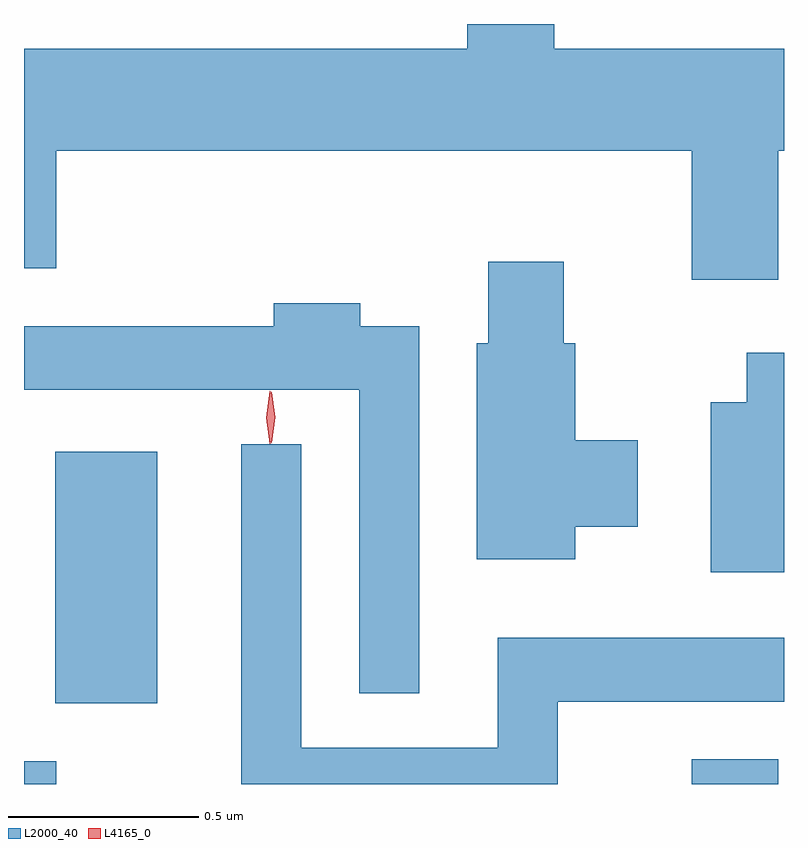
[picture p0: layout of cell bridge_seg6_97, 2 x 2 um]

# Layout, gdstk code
import gdstk
lib = gdstk.Library(unit=1e-6, precision=1e-09)
def R(c, l, rs):  # rectangles x0, y0, x1, y1
    for r in rs: c.add(gdstk.rectangle(r[:2], r[2:], *l))
def P(c, l, *ps):  # polygons
    for p in ps: c.add(gdstk.Polygon(p, *l))
L2000_40 = (2000, 40)
L4165_0 = (4165, 0)

bridge_seg6_97 = lib.new_cell('bridge_seg6_97')
R(bridge_seg6_97, L2000_40, [(1082.464,1612.749,1082.549,1612.809), (1084.221,1612.749,1084.449,1612.814), (1082.546,1612.961,1082.814,1613.624)])
P(bridge_seg6_97, L2000_40, [(1084.449,1614.416),(1084.464,1614.416),(1084.464,1614.684),(1083.859,1614.684),(1083.859,1614.749),(1083.631,1614.749),(1083.631,1614.684),(1082.464,1614.684),(1082.464,1614.106),(1082.549,1614.106),(1082.549,1614.416),(1084.221,1614.416),(1084.221,1614.076),(1084.449,1614.076)],
  [(1083.914,1613.426),(1084.079,1613.426),(1084.079,1613.654),(1083.914,1613.654),(1083.914,1613.909),(1083.884,1613.909),(1083.884,1614.124),(1083.686,1614.124),(1083.686,1613.909),(1083.656,1613.909),(1083.656,1613.341),(1083.914,1613.341)],
  [(1083.504,1613.954),(1083.349,1613.954),(1083.349,1614.014),(1083.121,1614.014),(1083.121,1613.954),(1082.464,1613.954),(1082.464,1613.786),(1083.346,1613.786),(1083.346,1612.988),(1083.504,1612.988)],
  [(1084.464,1613.884),(1084.366,1613.884),(1084.366,1613.754),(1084.271,1613.754),(1084.271,1613.306),(1084.464,1613.306)],
  [(1083.869,1612.966),(1084.464,1612.966),(1084.464,1613.134),(1083.711,1613.134),(1083.711,1612.844),(1083.194,1612.844),(1083.194,1613.643),(1083.036,1613.643),(1083.036,1612.749),(1083.869,1612.749)])
P(bridge_seg6_97, L4165_0, [(1083.111,1613.644),(1083.102,1613.713),(1083.111,1613.782),(1083.112,1613.783),(1083.112,1613.782),(1083.122,1613.713),(1083.112,1613.644),(1083.112,1613.644)],
  [(1083.114,1613.647),(1083.105,1613.714),(1083.114,1613.78),(1083.115,1613.781),(1083.116,1613.78),(1083.125,1613.714),(1083.116,1613.647),(1083.115,1613.647)])

lib.write_gds('bridge_seg6_97.gds')
